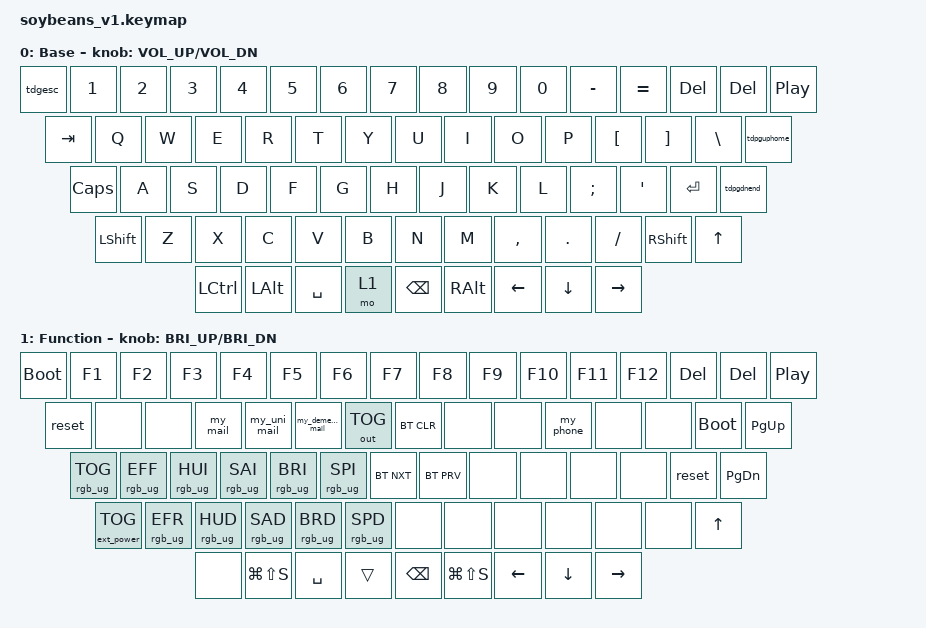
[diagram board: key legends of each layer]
/*
# Copyright (c) 2021 The ZMK Contributors
*
* SPDX-License-Identifier: MIT
*/

#include <behaviors.dtsi>
#include <dt-bindings/zmk/keys.h>
#include <dt-bindings/zmk/rgb.h>
#include <dt-bindings/zmk/bt.h>
#include <dt-bindings/zmk/outputs.h>
#include <dt-bindings/zmk/ext_power.h>

#define SRC &kp LG(LS(S))       //Screen Capture: Gui + Shift + S
#define PHONE &my_phone
#define UNIMAIL &my_uni_mail
#define MYMAIL &my_mail
#define DEEMAIL &my_demen17_mail

/ {

	macros {
        
		ZMK_MACRO(my_phone,
			wait-ms = <30>;
			tap-ms = <40>;
			bindings = <&kp N0 &kp N5 &kp N8 &kp N9 &kp N3 &kp N8 &kp N5 &kp N2 &kp N9 &kp N0>;
    	)

		ZMK_MACRO(my_uni_mail,
			wait-ms = <30>;
			tap-ms = <40>;
			bindings = <&kp M &kp I &kp N &kp H &kp P &kp D &kp H &kp E &kp N1 &kp N6 &kp N1 &kp N6 &kp N5 &kp N2 &kp AT &kp F &kp P &kp T &kp DOT &kp E &kp D &kp U &kp DOT &kp V &kp N>;
    	)

		ZMK_MACRO(my_mail,
			wait-ms = <30>;
			tap-ms = <40>;
			bindings = <&kp T &kp H &kp A &kp N &kp D &kp O &kp C &kp T &kp O &kp AT &kp G &kp M &kp A &kp I &kp L &kp DOT &kp C &kp O &kp M>;
    	)

		ZMK_MACRO(my_demen17_mail,
			wait-ms = <30>;
			tap-ms = <40>;
			bindings = <&kp D &kp E &kp E &kp M &kp E &kp N &kp N1 &kp N7 &kp AT &kp G &kp M &kp A &kp I &kp L &kp DOT &kp C &kp O &kp M>;
    	)
		
    };

	behaviors {
        tdgesc: tap_dance_grave_esc {
            compatible = "zmk,behavior-tap-dance";
            label = "TAP_DANCE_GRAVE_ESC";
            #binding-cells = <0>;
            tapping-term-ms = <200>;
            bindings = <&kp GRAVE>, <&kp ESC>;
        };

		tdpguphome: tap_dance_pgup_home {
            compatible = "zmk,behavior-tap-dance";
            label = "TAP_DANCE_PGUP_HOME";
            #binding-cells = <0>;
            tapping-term-ms = <200>;
            bindings = <&kp PG_UP>, <&kp HOME>;
        };

		tdpgdnend: tap_dance_pgdn_end {
            compatible = "zmk,behavior-tap-dance";
            label = "TAP_DANCE_PGDN_END";
            #binding-cells = <0>;
            tapping-term-ms = <200>;
            bindings = <&kp PG_DN>, <&kp END>;
        };

    };

	keymap {
		compatible = "zmk,keymap";

		default_layer {
			label = "Base";
			bindings = <
               	&tdgesc &kp N1 &kp N2 &kp N3 &kp N4 &kp N5 &kp N6           &kp N7 &kp N8 &kp N9 &kp N0 &kp MINUS &kp EQUAL  &kp DEL  &kp DEL   &kp C_PP
			     &kp TAB     &kp Q   &kp W  &kp E  &kp R  &kp T                &kp Y   &kp U  &kp I  &kp O  &kp P   &kp LBKT  &kp RBKT  &kp BSLH       &tdpguphome
			     &kp CAPS      &kp A  &kp S  &kp D  &kp F  &kp G               &kp H    &kp J  &kp K  &kp L  &kp SEMI   &kp APOS     &kp ENTER           &tdpgdnend
			     &kp LSHIFT      &kp Z  &kp X  &kp C  &kp V  &kp B             &kp N     &kp M  &kp COMMA  &kp PERIOD  &kp SLASH  &kp RSHIFT    &kp UP 
			     &kp LCTRL      &kp LALT      &kp SPACE    &mo 1                  &kp BSPC       &kp RALT                           &kp LEFT   &kp DOWN   &kp RIGHT
			>;
                     sensor-bindings = <&inc_dec_kp C_VOL_UP C_VOL_DN>;
		};

		function_layer {
			label = "Function";
			bindings = <
               	&bootloader  &kp F1   &kp F2   &kp F3   &kp F4   &kp F5   &kp F6                                          &kp F7 &kp F8 &kp F9  &kp F10  &kp F11  &kp F12  &kp DEL  &kp DEL    &kp C_PP
			     &reset          &none    &none    MYMAIL    UNIMAIL    DEEMAIL                                           &out OUT_TOG  &bt BT_CLR &none &none PHONE &none  &none &bootloader    &kp PG_UP
			     &rgb_ug RGB_TOG &rgb_ug RGB_EFF &rgb_ug RGB_HUI &rgb_ug RGB_SAI &rgb_ug RGB_BRI &rgb_ug RGB_SPI          &bt BT_NXT   &bt BT_PRV   &none  &none  &none   &none  &reset              &kp PG_DN
			     &ext_power EP_TOG &rgb_ug RGB_EFR &rgb_ug RGB_HUD &rgb_ug RGB_SAD &rgb_ug RGB_BRD &rgb_ug RGB_SPD        &none  &none  &none    &none   &none &none    &kp UP 
			     &none                    &kp LG(LS(S))                             &kp SPACE                 &trans               &kp BSPC      SRC         &kp LEFT   &kp DOWN   &kp RIGHT
			>;
                     sensor-bindings = <&inc_dec_kp C_BRI_UP C_BRI_DN>;
		};
	};
};
